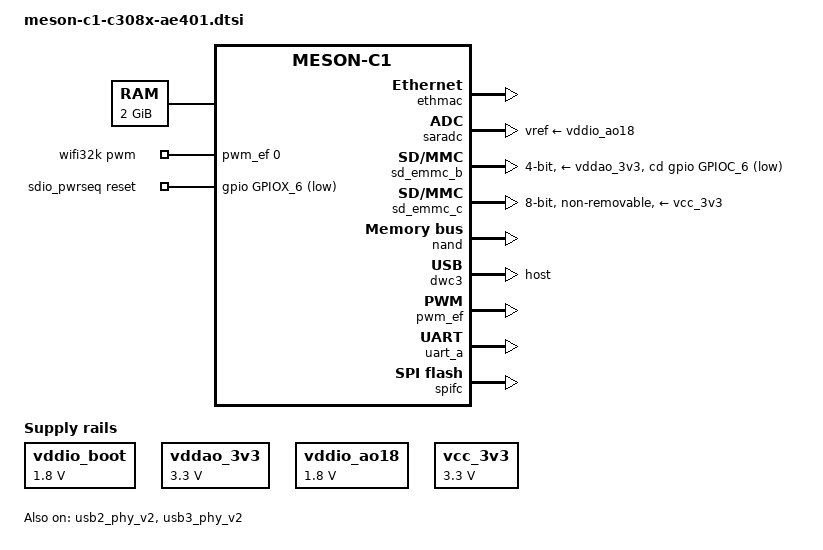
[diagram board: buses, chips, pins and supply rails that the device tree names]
/* SPDX-License-Identifier: (GPL-2.0+ OR MIT) */
/*
 * Copyright (c) 2016 Martin Blumenstingl <martin.blumenstingl@googlemail.com>.
 * Based on meson-gx-p23x-q20x.dtsi:
 * - Copyright (c) 2016 Endless Computers, Inc.
 *   Author: Carlo Caione <carlo@endlessm.com>
 * - Copyright (c) 2016 BayLibre, SAS.
 *   Author: Neil Armstrong <narmstrong@baylibre.com>
 */

/* Common DTSI for devices which are based on the P212 reference board. */

#include "meson-c1-c308x.dtsi"

/ {
	aliases {
		serial0 = &uart_b;
		serial1 = &uart_a;
		spi0 = &spifc;
		spi1 = &spicc0;
		spi2 = &spicc1;
		i2c0 = &i2c0;
		i2c1 = &i2c1;
		i2c2 = &i2c2;
		i2c3 = &i2c3;
		i2c4 = &i2c4;
	};

	chosen {
		stdout-path = "serial0:115200n8";
	};

	memory@0 {
		device_type = "memory";
		reg = <0x0 0x0 0x0 0x80000000>;
	};

	vddio_boot: regulator-vddio_boot {
		compatible = "regulator-fixed";
		regulator-name = "VDDIO_BOOT";
		regulator-min-microvolt = <1800000>;
		regulator-max-microvolt = <1800000>;
	};

	vddao_3v3: regulator-vddao_3v3 {
		compatible = "regulator-fixed";
		regulator-name = "VDDAO_3V3";
		regulator-min-microvolt = <3300000>;
		regulator-max-microvolt = <3300000>;
	};

	vddio_ao18: regulator-vddio_ao18 {
		compatible = "regulator-fixed";
		regulator-name = "VDDIO_AO18";
		regulator-min-microvolt = <1800000>;
		regulator-max-microvolt = <1800000>;
	};

	vcc_3v3: regulator-vcc_3v3 {
		compatible = "regulator-fixed";
		regulator-name = "VCC_3V3";
		regulator-min-microvolt = <3300000>;
		regulator-max-microvolt = <3300000>;
	};

	emmc_pwrseq: emmc-pwrseq {
		compatible = "mmc-pwrseq-emmc";
		/*reset-gpios = <&gpio BOOT_9 GPIO_ACTIVE_LOW>;*/
	};

	wifi32k: wifi32k {
		compatible = "pwm-clock";
		#clock-cells = <0>;
		clock-frequency = <32768>;
		pwms = <&pwm_ef 0 30518 0>; /* PWM_E at 32.768KHz */
	};

	sdio_pwrseq: sdio-pwrseq {
		compatible = "mmc-pwrseq-simple";
		reset-gpios = <&gpio GPIOX_6 GPIO_ACTIVE_LOW>;
		clocks = <&wifi32k>;
		clock-names = "ext_clock";
	};
};

&ethmac {
	status = "okay";
	internal_phy = <1>;
	mc_val = <0x4be04>;
	/*mc_val = <0x1621>;*/
};

&ir {
	status = "disabled";
	/* pinctrl-0 = <&remote_input_ao_pins>; */
	/* pinctrl-names = "default"; */
};

&saradc {
	status = "okay";
	vref-supply = <&vddio_ao18>;
};

/* Wireless SDIO Module */
&sd_emmc_a {
	status = "disabled";
	/*pinctrl-0 = <&sdio_pins>;*/
	/*pinctrl-names = "default";*/
	#address-cells = <1>;
	#size-cells = <0>;

	bus-width = <4>;
	cap-sd-highspeed;
	max-frequency = <100000000>;

	non-removable;
	disable-wp;
	card_type = <3>;

	mmc-pwrseq = <&sdio_pwrseq>;

	vmmc-supply = <&vddao_3v3>;
	vqmmc-supply = <&vddio_boot>;
};

/* SD card */
&sd_emmc_b {
	status = "okay";
	pinctrl-0 = <&sdcard_pins>;
	pinctrl-1 = <&sdcard_pins &to_sduart_pins>;
	pinctrl-names = "sd_all_pins", "sd_uart";

	bus-width = <4>;
	cap-sd-highspeed;
	max-frequency = <100000000>;
	disable-wp;

	cd-gpios = <&gpio GPIOC_6 GPIO_ACTIVE_HIGH>;
	cd-inverted;

	card_type = <5>;

	init_co_phase = <2>;
	init_tx_phase = <0>;

	hs_co_phase = <2>;
	hs_tx_phase = <0>;

	vmmc-supply = <&vddao_3v3>;
	vqmmc-supply = <&vddio_boot>;
};

/* eMMC */
&sd_emmc_c {
	status = "okay";
	pinctrl-0 = <&emmc_pins>;
	pinctrl-names = "default";

	bus-width = <8>;
	cap-sd-highspeed;
	cap-mmc-highspeed;
	//mmc-hs200-1_8v;
	max-frequency = <50000000>;
	non-removable;
	disable-wp;
	/* mmc-ddr-1_8v; */
	card_type = <1>;

	init_co_phase = <2>;
	init_tx_phase = <0>;

	hs_co_phase = <2>;
	hs_tx_phase = <0>;

	hs2_co_phase = <2>;
	hs2_tx_phase = <0>;

	hw_reset = <&gpio GPIOB_9 GPIO_ACTIVE_HIGH>;

	mmc-pwrseq = <&emmc_pwrseq>;
	vmmc-supply = <&vcc_3v3>;
	vqmmc-supply = <&vddio_boot>;
};

/* nand */
&nand {
	status = "okay";
	pinctrl-names = "default", "nand_cs_only";
	pinctrl-0 = <&all_nand_pins>;
	pinctrl-1 = <&nand_cs_pins>;

	/*
	#address-cells = <1>;
	#size-cells = <0>;

	nand@0 {
		reg = <0>;
		#address-cells = <1>;
		#size-cells = <1>;

		nand-on-flash-bbt;
		nand-ecc-mode = "hw";
		nand-ecc-strength = <8>;
		nand-ecc-step-size = <1024>;

		meson-nand-user-mode = <2>;
		meson-nand-ran-mode = <1>;

		partition@0 {
			label = "boot";
			reg = <0x00000000 0x00200000>;
			read-only;
		};
		partition@200000 {
			label = "env";
			reg = <0x00200000 0x00400000>;
		};
		partition@600000 {
			label = "system";
			reg = <0x00600000 0x00a00000>;
		};
		partition@1000000 {
			label = "rootfs";
			reg = <0x01000000 0x03000000>;
		};
		partition@4000000 {
			label = "media";
			reg = <0x04000000 0x8000000>;
		};
	};*/

};

&dwc3 {
	status = "okay";
	dr_mode = "host";
};

&usb2_phy_v2 {
	status = "okay";
	portnum = <1>;
};

&usb3_phy_v2 {
	status = "okay";
	portnum = <0>;
	gpio-vbus-power = "GPIOD_9";
	gpios = <&gpio GPIOD_9 GPIO_ACTIVE_HIGH>;
};

&pwm_ef {
	status = "okay";
	/* pinctrl-0 = <&pwm_e_pins>; */
	/* pinctrl-names = "default"; */
};

/* This is connected to the Bluetooth module: */
&uart_a {
	status = "okay";
	/* pinctrl-0 = <&a_uart_pins>; */
	/* pinctrl-names = "default";  */
	uart-has-rtscts;
};

&spifc {
	status = "okay";
	pinctrl-names = "default";
	pinctrl-0 = <&spifc_pins>;
	max-frequency = <24000000>;
	max-cs = <2>;
	/* 512M */
	clocks = <&clkc CLKID_FCLK_DIV2>,
		 <&clkc CLKID_SPIFC_MUX>,
		 <&clkc CLKID_SPIFC_DIV>,
		 <&clkc CLKID_SPIFC_GATE>,
		 <&clkc CLKID_SPIFC_XTAL_GATE>;
	clock-names = "fclk_source", "spifc_mux", "spifc_div", "spifc_gate", "spifc_xtal_gate";
};

&spicc0 {
	status = "disabled";
	pinctrl-names = "default";
	pinctrl-0 = <&spicc0_pins1>;
	cs-gpios = <&gpio GPIOA_8 0>;
};

&spicc1 {
	status = "disabled";
	pinctrl-names = "default";
	pinctrl-0 = <&spicc1_pins1>;
	cs-gpios = <&gpio GPIOA_14 0>;
};
